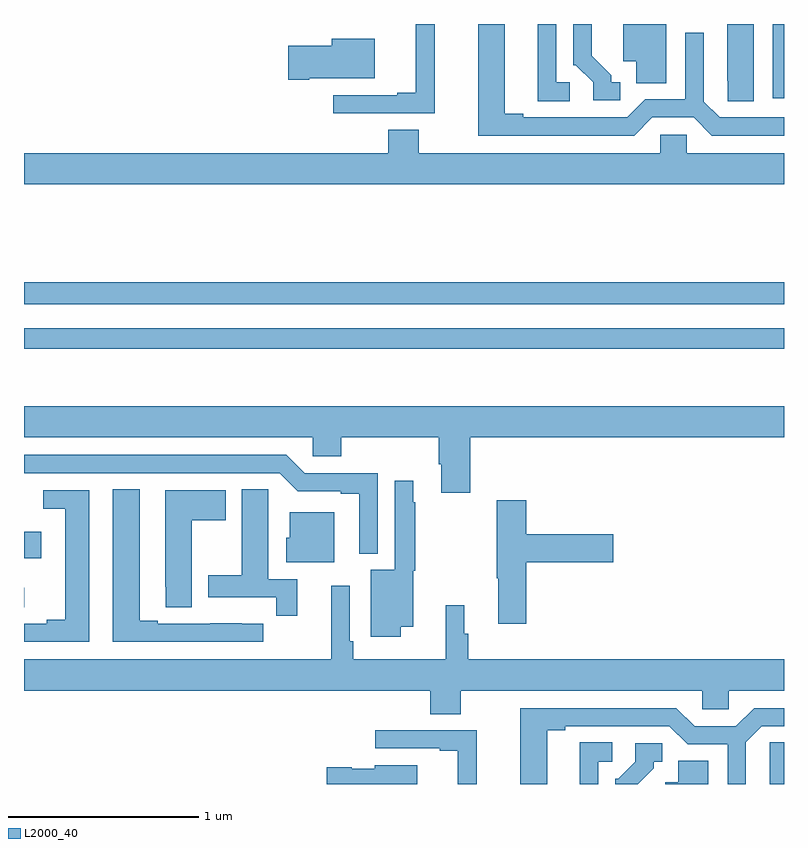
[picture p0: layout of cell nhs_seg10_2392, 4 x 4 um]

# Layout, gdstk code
import gdstk
lib = gdstk.Library(unit=1e-6, precision=1e-09)
def R(c, l, rs):  # rectangles x0, y0, x1, y1
    for r in rs: c.add(gdstk.rectangle(r[:2], r[2:], *l))
def P(c, l, *ps):  # polygons
    for p in ps: c.add(gdstk.Polygon(p, *l))
L2000_40 = (2000, 40)

nhs_seg10_2392 = lib.new_cell('nhs_seg10_2392')
R(nhs_seg10_2392, L2000_40, [(239,1291.431,239.002,1291.533), (239,1291.688,239.092,1291.828), (239,1292.79,243,1292.898), (239,1293.024,243,1293.14), (242.942,1294.11,243,1294.5)])
P(nhs_seg10_2392, L2000_40, [(241.161,1294.5),(241.061,1294.5),(241.061,1294.138),(240.965,1294.138),(240.965,1294.125),(240.627,1294.125),(240.627,1294.029),(241.161,1294.029)],
  [(241.873,1294.194),(241.8,1294.194),(241.8,1294.5),(241.703,1294.5),(241.703,1294.093),(241.873,1294.093)],
  [(242.137,1294.194),(242.092,1294.194),(242.092,1294.229),(241.987,1294.334),(241.987,1294.5),(241.89,1294.5),(241.89,1294.284),(241.905,1294.284),(241.995,1294.194),(241.995,1294.098),(242.137,1294.098)],
  [(242.38,1294.5),(242.153,1294.5),(242.153,1294.304),(242.222,1294.304),(242.222,1294.189),(242.38,1294.189)],
  [(242.842,1294.5),(242.702,1294.5),(242.702,1294.201),(242.703,1294.201),(242.703,1294.093),(242.842,1294.093)],
  [(242.307,1294.008),(242.525,1294.008),(242.621,1293.912),(243,1293.912),(243,1294.008),(242.661,1294.008),(242.577,1294.092),(242.577,1294.453),(242.481,1294.453),(242.481,1294.104),(242.271,1294.104),(242.175,1294.008),(241.627,1294.008),(241.627,1294.028),(241.531,1294.028),(241.531,1294.5),(241.391,1294.5),(241.391,1293.912),(242.211,1293.912)],
  [(240.502,1294.214),(240.847,1294.214),(240.847,1294.423),(240.62,1294.423),(240.62,1294.385),(240.39,1294.385),(240.39,1294.207),(240.502,1294.207)],
  [(243,1293.82),(242.487,1293.82),(242.487,1293.918),(242.349,1293.918),(242.349,1293.82),(241.077,1293.82),(241.077,1293.944),(240.917,1293.944),(240.917,1293.82),(239,1293.82),(239,1293.656),(243,1293.656)],
  [(241.349,1292.324),(243,1292.324),(243,1292.488),(239,1292.488),(239,1292.324),(240.519,1292.324),(240.519,1292.226),(240.671,1292.226),(240.671,1292.324),(241.184,1292.324),(241.184,1292.182),(241.196,1292.182),(241.196,1292.034),(241.349,1292.034)],
  [(240.861,1292.136),(240.477,1292.136),(240.381,1292.232),(239,1292.232),(239,1292.136),(240.345,1292.136),(240.441,1292.04),(240.668,1292.04),(240.668,1292.028),(240.764,1292.028),(240.764,1291.712),(240.861,1291.712)],
  [(240.982,1291.328),(241.048,1291.328),(241.048,1291.623),(241.06,1291.623),(241.06,1291.982),(241.048,1291.982),(241.048,1292.095),(240.951,1292.095),(240.951,1291.627),(240.824,1291.627),(240.824,1291.275),(240.982,1291.275)],
  [(240.259,1291.344),(240.146,1291.344),(240.146,1291.345),(239.98,1291.345),(239.98,1291.344),(239.704,1291.344),(239.704,1291.359),(239.608,1291.359),(239.608,1292.051),(239.468,1292.051),(239.468,1291.248),(240.259,1291.248)],
  [(240.437,1291.578),(240.286,1291.578),(240.286,1291.94),(240.285,1291.94),(240.285,1292.051),(240.146,1292.051),(240.146,1291.599),(239.969,1291.599),(239.969,1291.482),(240.328,1291.482),(240.328,1291.386),(240.437,1291.386)],
  [(239.884,1291.888),(240.061,1291.888),(240.061,1292.047),(239.744,1292.047),(239.744,1291.537),(239.745,1291.537),(239.745,1291.429),(239.884,1291.429)],
  [(239.344,1292.046),(239.1,1292.046),(239.1,1291.95),(239.216,1291.95),(239.216,1291.364),(239.12,1291.364),(239.12,1291.344),(239,1291.344),(239,1291.248),(239.344,1291.248)],
  [(241.643,1291.667),(242.101,1291.667),(242.101,1291.814),(241.643,1291.814),(241.643,1291.993),(241.489,1291.993),(241.489,1291.583),(241.496,1291.583),(241.496,1291.344),(241.643,1291.344)],
  [(240.634,1291.93),(240.398,1291.93),(240.398,1291.797),(240.38,1291.797),(240.38,1291.667),(240.634,1291.667)],
  [(241.299,1290.992),(242.571,1290.992),(242.571,1290.894),(242.709,1290.894),(242.709,1290.992),(243,1290.992),(243,1291.156),(241.337,1291.156),(241.337,1291.29),(241.318,1291.29),(241.318,1291.441),(241.219,1291.441),(241.219,1291.156),(240.734,1291.156),(240.734,1291.252),(240.714,1291.252),(240.714,1291.543),(240.617,1291.543),(240.617,1291.156),(239,1291.156),(239,1290.992),(241.139,1290.992),(241.139,1290.868),(241.299,1290.868)],
  [(241.753,1290.784),(241.849,1290.784),(241.849,1290.804),(242.397,1290.804),(242.493,1290.708),(242.703,1290.708),(242.703,1290.5),(242.799,1290.5),(242.799,1290.72),(242.883,1290.804),(243,1290.804),(243,1290.9),(242.843,1290.9),(242.747,1290.804),(242.529,1290.804),(242.433,1290.9),(241.613,1290.9),(241.613,1290.5),(241.753,1290.5)],
  [(241.383,1290.783),(240.849,1290.783),(240.849,1290.687),(241.187,1290.687),(241.187,1290.675),(241.283,1290.675),(241.283,1290.5),(241.383,1290.5)],
  [(243,1290.719),(242.925,1290.719),(242.925,1290.611),(242.924,1290.611),(242.924,1290.5),(243,1290.5)],
  [(242.022,1290.618),(242.095,1290.618),(242.095,1290.719),(241.925,1290.719),(241.925,1290.5),(242.022,1290.5)],
  [(242.314,1290.583),(242.314,1290.618),(242.359,1290.618),(242.359,1290.714),(242.217,1290.714),(242.217,1290.618),(242.127,1290.528),(242.112,1290.528),(242.112,1290.5),(242.231,1290.5)],
  [(242.602,1290.623),(242.444,1290.623),(242.444,1290.508),(242.375,1290.508),(242.375,1290.5),(242.602,1290.5)],
  [(241.069,1290.598),(240.846,1290.598),(240.846,1290.58),(240.726,1290.58),(240.726,1290.588),(240.594,1290.588),(240.594,1290.5),(241.069,1290.5)])

lib.write_gds('nhs_seg10_2392.gds')
